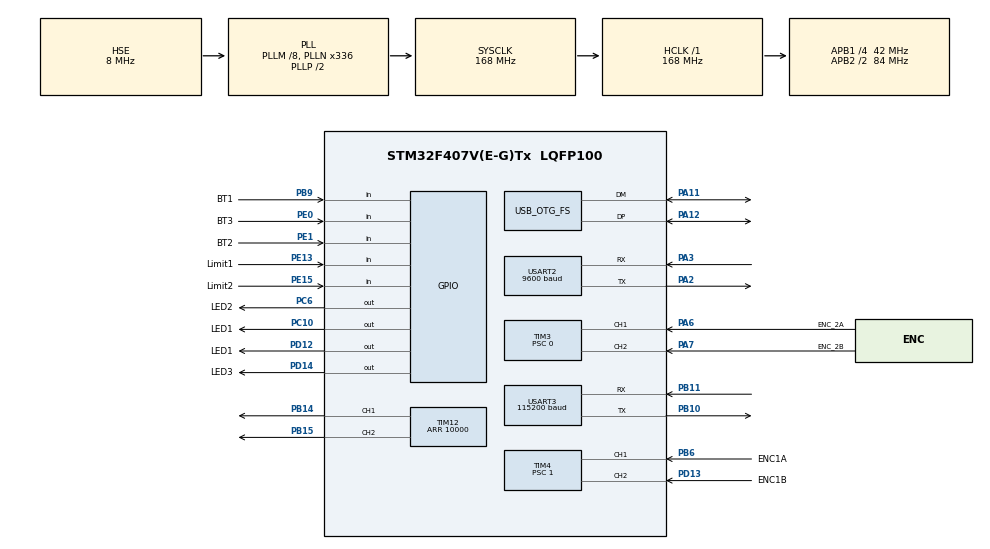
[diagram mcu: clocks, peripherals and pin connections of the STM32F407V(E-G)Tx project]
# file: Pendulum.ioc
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Mcu.Family=STM32F4
Mcu.Name=STM32F407V(E-G)Tx
Mcu.Package=LQFP100
NVIC.OTG_FS_IRQn=true\:0\:0\:false\:false\:true\:false\:true\:true
NVIC.PriorityGroup=NVIC_PRIORITYGROUP_4
PA11.Mode=Device_Only
PA11.Signal=USB_OTG_FS_DM
PA12.Mode=Device_Only
PA12.Signal=USB_OTG_FS_DP
PA2.Mode=Asynchronous
PA2.Signal=USART2_TX
PA3.Mode=Asynchronous
PA3.Signal=USART2_RX
PA6.GPIO_Label=ENC_2A
PA6.GPIO_PuPd=GPIO_PULLDOWN
PA6.GPIO_Speed=GPIO_SPEED_FREQ_VERY_HIGH
PA6.Signal=S_TIM3_CH1
PA7.GPIO_Label=ENC_2B
PA7.GPIO_PuPd=GPIO_PULLDOWN
PA7.GPIO_Speed=GPIO_SPEED_FREQ_VERY_HIGH
PA7.Signal=S_TIM3_CH2
PB10.Mode=Asynchronous
PB10.Signal=USART3_TX
PB11.Mode=Asynchronous
PB11.Signal=USART3_RX
PB14.Signal=S_TIM12_CH1
PB15.Signal=S_TIM12_CH2
PB6.GPIO_Label=ENC1A
PB6.Signal=S_TIM4_CH1
PB9.GPIO_Label=BT1
PB9.GPIO_PuPd=GPIO_PULLUP
PB9.Signal=GPIO_Input
PC10.GPIO_Label=LED1
PC10.Signal=GPIO_Output
PC6.GPIO_Label=LED2
PC6.Signal=GPIO_Output
PD12.GPIO_Label=LED1
PD12.Signal=GPIO_Output
PD13.GPIO_Label=ENC1B
PD13.Signal=S_TIM4_CH2
PD14.GPIO_Label=LED3
PD14.Signal=GPIO_Output
PE0.GPIO_Label=BT3
PE0.GPIO_PuPd=GPIO_PULLUP
PE0.Signal=GPIO_Input
PE1.GPIO_Label=BT2
PE1.GPIO_PuPd=GPIO_PULLUP
PE1.Signal=GPIO_Input
PE13.GPIO_Label=Limit1
PE13.Signal=GPIO_Input
PE15.GPIO_Label=Limit2
PE15.GPIO_PuPd=GPIO_NOPULL
PE15.Signal=GPIO_Input
PH0-OSC_IN.Mode=HSE-External-Oscillator
PH0-OSC_IN.Signal=RCC_OSC_IN
PH1-OSC_OUT.Mode=HSE-External-Oscillator
PH1-OSC_OUT.Signal=RCC_OSC_OUT
ProjectManager.HeapSize=0x200
ProjectManager.StackSize=0x400
ProjectManager.TargetToolchain=MDK-ARM V5.32
RCC.48MHZClocksFreq_Value=48000000
RCC.AHBFreq_Value=168000000
RCC.APB1CLKDivider=RCC_HCLK_DIV4
RCC.APB1Freq_Value=42000000
RCC.APB1TimFreq_Value=84000000
RCC.APB2CLKDivider=RCC_HCLK_DIV2
RCC.APB2Freq_Value=84000000
RCC.APB2TimFreq_Value=168000000
RCC.CortexFreq_Value=168000000
RCC.HCLKFreq_Value=168000000
RCC.HSE_VALUE=8000000
RCC.HSI_VALUE=16000000
RCC.LSE_VALUE=32768
RCC.PLLM=8
RCC.PLLN=336
RCC.PLLQ=7
RCC.SYSCLKFreq_VALUE=168000000
RCC.SYSCLKSource=RCC_SYSCLKSOURCE_PLLCLK
RCC.VCOOutputFreq_Value=336000000
SH.S_TIM12_CH1.0=TIM12_CH1,PWM Generation1 CH1
SH.S_TIM12_CH2.0=TIM12_CH2,PWM Generation2 CH2
SH.S_TIM3_CH1.0=TIM3_CH1,Encoder_Interface
SH.S_TIM3_CH2.0=TIM3_CH2,Encoder_Interface
SH.S_TIM4_CH1.0=TIM4_CH1,Encoder_Interface
SH.S_TIM4_CH2.0=TIM4_CH2,Encoder_Interface
TIM12.Channel-PWM\ Generation1\ CH1=TIM_CHANNEL_1
TIM12.Channel-PWM\ Generation2\ CH2=TIM_CHANNEL_2
TIM12.Period=10000
TIM12.Pulse-PWM\ Generation1\ CH1=65535
TIM12.Pulse-PWM\ Generation2\ CH2=65535
TIM3.CounterMode=TIM_COUNTERMODE_DOWN
TIM3.EncoderMode=TIM_ENCODERMODE_TI12
TIM3.IC1Filter=10
TIM3.IC1Polarity=TIM_ICPOLARITY_FALLING
TIM3.IC2Filter=10
TIM3.IC2Polarity=TIM_ICPOLARITY_FALLING
TIM3.Prescaler=0
TIM4.CounterMode=TIM_COUNTERMODE_DOWN
TIM4.EncoderMode=TIM_ENCODERMODE_TI12
TIM4.IC1Filter=10
TIM4.IC2Filter=10
TIM4.Prescaler=1
USART2.BaudRate=9600
USART2.VirtualMode=VM_ASYNC
USART3.BaudRate=115200
USART3.VirtualMode=VM_ASYNC
USB_DEVICE.CLASS_NAME_FS=CDC
USB_DEVICE.VirtualMode-CDC_FS=Cdc
USB_DEVICE.VirtualModeFS=Cdc_FS
USB_OTG_FS.VirtualMode=Device_Only
VP_USB_DEVICE_VS_USB_DEVICE_CDC_FS.Mode=CDC_FS
board=custom

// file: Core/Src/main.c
/* USER CODE BEGIN Header */
/**
  ******************************************************************************
  * @file           : main.c
  * @brief          : Main program body
  ******************************************************************************
  * @attention
  *
  * Copyright (c) 2025 STMicroelectronics.
  * All rights reserved.
  *
  * This software is licensed under terms that can be found in the LICENSE file
  * in the root directory of this software component.
  * If no LICENSE file comes with this software, it is provided AS-IS.
  *
  ******************************************************************************
  */
/* USER CODE END Header */
#include "main.h"
#include "usb_device.h"

/* USER CODE BEGIN Includes */
#include "Encoder_db.h"
#include "taskMan.h"
#include "StandardNextion.h"
#include "step_motor.h"
#include "COM_CDC.h"
uint16_t Enc_sampling, Enc_sampling2;
uint16_t Enc_Count, Enc_Count1, enkoder1, enkoder;
int Limit_kiri, Limit_kanan;
uint32_t lastSend = 0;

int angka = 0;
/* USER CODE END Includes */

TIM_HandleTypeDef htim3;
TIM_HandleTypeDef htim4;
TIM_HandleTypeDef htim12;

UART_HandleTypeDef huart2;
UART_HandleTypeDef huart3;

void SystemClock_Config(void);
static void MX_GPIO_Init(void);
static void MX_TIM12_Init(void);
static void MX_TIM3_Init(void);
static void MX_USART2_UART_Init(void);
static void MX_USART3_UART_Init(void);
static void MX_TIM4_Init(void);

/* USER CODE BEGIN 0 */
uint8_t usart3_rx;
uint8_t usart3_buf[100];
uint16_t usart3_len = 0;

char lmt[128];
char msg[65];
char kirim_angka[99];
char text[] = "HELLO\r\n";
int encoder_cnt = 0;
int last_cnt = 0;
int delta = 0;
float angleValue=0;
char printMessage[200]={'\0'};
extern uint8_t CDC_Transmit_FS(uint8_t* Buf, uint16_t Len);

uint8_t usart3_rx;
char kirim[64];

void Encoder_Init(){
	HAL_TIM_Encoder_Start(&htim3, TIM_CHANNEL_ALL); //Encoder
	HAL_TIM_Encoder_Start(&htim4, TIM_CHANNEL_ALL); //Encoder motor

    TIM3->CNT = 0;      // mulai dari 0
    TIM4->CNT = 0;

    Enc_Count = 0;
    Enc_Count1 = 0;
}

void Reset_Enc(){
    Enc_sampling = 0;
    Enc_Count = 0;
    Enc_Count1 = 0;

    Encoder_A = 0;
    Encoder_B = 0;

    last_encoder = 0;
    last_encoder1 = 0;

    TIM3->CNT = 0;
    TIM5->CNT = 0;

}

uint16_t get_encoder (){
    int16_t delta = (int16_t)(TIM3->CNT);  // konversi langsung jadi signed
    TIM3->CNT = 0;                         // reset lagi ke 0
    Enc_Count += delta;
    return Enc_Count;
}

uint16_t get_encoder1 (){
	int16_t delta1 = (int16_t)(TIM4->CNT);
	TIM5->CNT = 0;
	Enc_Count1 += delta1;
	return Enc_Count1;
}

void limit_sens(){
	char lmt[64];

	int Limit_kiri = (HAL_GPIO_ReadPin(Limit1_GPIO_Port, Limit1_Pin) == GPIO_PIN_RESET);
	int Limit_kanan = (HAL_GPIO_ReadPin(Limit2_GPIO_Port, Limit2_Pin) == GPIO_PIN_RESET);
	HAL_Delay(100);

	if(Limit_kiri){
		sprintf(lmt, "Limit1 - PE13: %d\r\n", Limit_kiri);
		CDC_Transmit_FS((uint8_t*)lmt, strlen(lmt));
	}
	else if (Limit_kanan){
		sprintf(lmt, "Limit2 - PE15: %d\r\n", Limit_kanan);
		CDC_Transmit_FS((uint8_t*)lmt, strlen(lmt));
	}
	else {
		sprintf(lmt, "NOTHING \n");
		CDC_Transmit_FS((uint8_t*)lmt, strlen(lmt));
	}
	HAL_Delay(10);
}

void HAL_UART_RxCpltCallback(UART_HandleTypeDef *huart) {
    if (huart->Instance == USART3) {
        // Simpan data ke buffer
        if (usart3_len < sizeof(usart3_buf) - 1) {
            usart3_buf[usart3_len++] = usart3_rx;
        }

        // Restart RX interrupt
        Nextion_UART_RxCallback();
        HAL_UART_Receive_IT(&huart3, &usart3_rx, 1);
    }
}

void Nextion_ProcessData_new(uint8_t *buf, uint8_t len) {
    if (len < 4) return;

    // Event tombol dari Nextion = 0x65, page, compID, event
    if (buf[0] == 0x65) {
        uint8_t comp_id = buf[2];
        uint8_t event   = buf[3];

        // Tombol b0 biasanya comp_id = 1
        if (comp_id == 1) {
            if (event == 1) {
               step_motor(6000);   // LED2 ON
            } else {
                stop(); // LED2 OFF
            }
        }

        // -----------------
        // Tombol b1
        // -----------------
        if (comp_id == 2) {
            if (event == 1) {
                step_motor(-6000);   // LED3 ON
            } else {
                stop(); // LED3 OFF
            }
        }
    }
}

void receive_from_nextion(){
    if (Nextion_Available()) {
        const char* msg = Nextion_GetString();
        char kirim[47];

        sprintf(kirim, "RX: %s\r\n", msg);
        CDC_Transmit_FS((uint8_t*)kirim, strlen(kirim));

        if (msg != NULL) {
            if (strcmp(msg, "01") == 0) {
                geserKanan();  // LED ON
                HAL_GPIO_WritePin(LED2_GPIO_Port, LED2_Pin, GPIO_PIN_SET);
                 sprintf(kirim, "CEKK \r\n");
                CDC_Transmit_FS((uint8_t*)kirim, strlen(kirim));
            }

            else if (strcmp(msg, "02") == 0){
            	geserKiri();
                sprintf(kirim, "DUAA \r\n");
                HAL_GPIO_WritePin(LED2_GPIO_Port, LED2_Pin, GPIO_PIN_SET);
               CDC_Transmit_FS((uint8_t*)kirim, strlen(kirim));
            }
            else {
            	stop();
               sprintf(kirim, "MATII \r\n");
               CDC_Transmit_FS((uint8_t*)kirim, strlen(kirim));
            }

        }

        Nextion_ClearBuffer(); // reset buffer setelah dipakai
        HAL_Delay(100);
    }

}

void Send_ENC(){
	char send[99];
	 sprintf(send, "KIRI -> Encoder_A: %d\r\n KANAN -> Encoder_B: %d\r\n", last_encoder, last_encoder1);
	 CDC_Transmit_FS((uint8_t*)send, strlen(send));
	 HAL_Delay(10);
}

void data_acak(int angka) {
    char alpha[4];      // 3 huruf alphabet
    // Buat alphabet acak
    for (int i = 0; i < 3; i++) {
        alpha[i] = 'A' + (rand() % 26);  // A-Z
    }
    alpha[3] = '\0';

    // Gabungkan alphabet + # + angka
    sprintf(kirim_angka, "%s#%d\r\n", alpha, angka);

    // Kirim ke USB CDC
    CDC_Transmit_FS((uint8_t*)kirim_angka, strlen(kirim_angka));
    HAL_Delay(100);
}

void send_to_Nextion(){
    char enc_text[50];
	sprintf(enc_text,"%d", last_encoder); //counter1
	Nextion_SendText("t1", enc_text);

	sprintf(enc_text,"%d", last_encoder1); //counter1
	Nextion_SendText("t0", enc_text);

	if (Nextion_Available()) {
				// Proses touch event atau data lain
				Nextion_ProcessData();
		}
	HAL_Delay(100);
}
int pinconA[4],pinconB[4];
/* USER CODE END 0 */

int main(void)
{

  /* MCU Configuration--------------------------------------------------------*/

  /* Reset of all peripherals, Initializes the Flash interface and the Systick. */
  HAL_Init();

  /* Configure the system clock */
  SystemClock_Config();

  /* Initialize all configured peripherals */
  MX_GPIO_Init();
  MX_USB_DEVICE_Init();
  MX_TIM12_Init();
  MX_TIM3_Init();
  MX_USART2_UART_Init();
  MX_USART3_UART_Init();
  MX_TIM4_Init();
  /* USER CODE BEGIN 2 */
  HAL_TIM_PWM_Start(&htim12, TIM_CHANNEL_1);
  HAL_TIM_PWM_Start(&htim12, TIM_CHANNEL_2);

  Encoder_Init();
  Nextion_Init();
	initTask();
  /* USER CODE END 2 */

  /* Infinite loop */
  /* USER CODE BEGIN WHILE */

  while (1)
  {
		loopTask();
		loopCOM();
		COM_PollAndParseJoystick();
		pinconA[0]= HAL_GPIO_ReadPin(ENC1A_GPIO_Port, ENC1A_Pin);
		pinconA[1]= HAL_GPIO_ReadPin(ENC1B_GPIO_Port, ENC1B_Pin);
		pinconB[0]= HAL_GPIO_ReadPin(ENC_2A_GPIO_Port, ENC_2A_Pin);
		pinconB[1]= HAL_GPIO_ReadPin(ENC_2B_GPIO_Port, ENC_2B_Pin);
		pinconB[2]= HAL_GPIO_ReadPin(Limit1_GPIO_Port, Limit1_Pin);
		pinconB[3]= HAL_GPIO_ReadPin(Limit2_GPIO_Port, Limit2_Pin);
		// sprintf(msg, "Encoder_A: %d -> Encoder_B: %d\r\n", last_encoder, last_encoder1);
		 //CDC_Transmit_FS((uint8_t*)msg, strlen(msg));

		/*
		 send_to_Nextion();
//		 counter();
		 receive_from_nextion();
		// limit_sens();
		 //Send_ENC();
		 //data_acak(ctrr++);  //TESS KIRIM USB CDC

		// receive_from_nextion();

		 if (Nextion_Available()) {
		     const char* msg = Nextion_GetString();

		     if (msg != NULL) {
		         char debug[50];
		         sprintf(debug, "RX:%s\r\n", msg);
		         CDC_Transmit_FS((uint8_t*)debug, strlen(debug));
		     }

		     Nextion_ClearBuffer();
		 }

	    Nextion_ClearBuffer();

	  if (HAL_GPIO_ReadPin(BT2_GPIO_Port, BT2_Pin) == GPIO_PIN_RESET){
//				 sprintf(msg, "KIRI -> Encoder_A: %d\r\n Encoder_B: %d\r\n", last_encoder, last_encoder1);
//				 CDC_Transmit_FS((uint8_t*)msg, strlen(msg));

			 if ( HAL_GPIO_ReadPin(Limit2_GPIO_Port, Limit2_Pin) == GPIO_PIN_RESET){

//				 sprintf(lmt, "KIRI -> Encoder_A: %d\r\n Encoder_B: %d\r\n", last_encoder, last_encoder1);
//			 	 CDC_Transmit_FS((uint8_t*)lmt, strlen(lmt));
				 stop();
			 }
			 else {
				 step_motor(48000);
				 HAL_GPIO_WritePin(LED2_GPIO_Port, LED2_Pin, GPIO_PIN_SET);
				// HAL_UART_Transmit(&huart3, last_encoder, 100, 100);
			 }

	  }
	  else if (HAL_GPIO_ReadPin(BT3_GPIO_Port, BT3_Pin) == GPIO_PIN_RESET){
//			 sprintf(msg, "KIRI -> Encoder_A: %d\r\n Encoder_B: %d\r\n", last_encoder, last_encoder1);
//			 CDC_Transmit_FS((uint8_t*)msg, strlen(msg));

			 if (HAL_GPIO_ReadPin(Limit1_GPIO_Port, Limit1_Pin) == GPIO_PIN_RESET){
//				 sprintf(lmt, "KIRI -> Encoder_A: %d\r\n Encoder_B: %d\r\n", last_encoder, last_encoder1);
//				 CDC_Transmit_FS((uint8_t*)lmt, strlen(lmt));
				 stop();
			 }
			 else {
				 step_motor(-48000);
				 HAL_GPIO_WritePin(LED3_GPIO_Port, LED3_Pin, GPIO_PIN_SET);
			//	 HAL_UART_Transmit(&huart3, last_encoder, 100, 100);

			 }
	  }
	  else {
		 stop();
		 HAL_GPIO_WritePin(LED1_GPIO_Port, LED1_Pin, GPIO_PIN_RESET);
		 HAL_GPIO_WritePin(LED2_GPIO_Port, LED2_Pin, GPIO_PIN_RESET);
		 HAL_GPIO_WritePin(LED3_GPIO_Port, LED3_Pin, GPIO_PIN_RESET);

	  }

	  if(HAL_GPIO_ReadPin(BT1_GPIO_Port, BT1_Pin) == GPIO_PIN_RESET){
		  Reset_Enc();
		  HAL_GPIO_WritePin(LED1_GPIO_Port, LED1_Pin, GPIO_PIN_SET);
	  }

    /* USER CODE END WHILE */

  }
}

void SystemClock_Config(void)
{
  RCC_OscInitTypeDef RCC_OscInitStruct = {0};
  RCC_ClkInitTypeDef RCC_ClkInitStruct = {0};

  /** Configure the main internal regulator output voltage
  */
  __HAL_RCC_PWR_CLK_ENABLE();
  __HAL_PWR_VOLTAGESCALING_CONFIG(PWR_REGULATOR_VOLTAGE_SCALE1);

  /** Initializes the RCC Oscillators according to the specified parameters
  * in the RCC_OscInitTypeDef structure.
  */
  RCC_OscInitStruct.OscillatorType = RCC_OSCILLATORTYPE_HSE;
  RCC_OscInitStruct.HSEState = RCC_HSE_ON;
  RCC_OscInitStruct.PLL.PLLState = RCC_PLL_ON;
  RCC_OscInitStruct.PLL.PLLSource = RCC_PLLSOURCE_HSE;
  RCC_OscInitStruct.PLL.PLLM = 8;
  RCC_OscInitStruct.PLL.PLLN = 336;
  RCC_OscInitStruct.PLL.PLLP = RCC_PLLP_DIV2;
  RCC_OscInitStruct.PLL.PLLQ = 7;
  if (HAL_RCC_OscConfig(&RCC_OscInitStruct) != HAL_OK)
  {
    Error_Handler();
  }

  /** Initializes the CPU, AHB and APB buses clocks
  */
  RCC_ClkInitStruct.ClockType = RCC_CLOCKTYPE_HCLK|RCC_CLOCKTYPE_SYSCLK
                              |RCC_CLOCKTYPE_PCLK1|RCC_CLOCKTYPE_PCLK2;
  RCC_ClkInitStruct.SYSCLKSource = RCC_SYSCLKSOURCE_PLLCLK;
  RCC_ClkInitStruct.AHBCLKDivider = RCC_SYSCLK_DIV1;
  RCC_ClkInitStruct.APB1CLKDivider = RCC_HCLK_DIV4;
  RCC_ClkInitStruct.APB2CLKDivider = RCC_HCLK_DIV2;

  if (HAL_RCC_ClockConfig(&RCC_ClkInitStruct, FLASH_LATENCY_5) != HAL_OK)
  {
    Error_Handler();
  }
}

static void MX_TIM3_Init(void)
{

  TIM_Encoder_InitTypeDef sConfig = {0};
  TIM_MasterConfigTypeDef sMasterConfig = {0};

  htim3.Instance = TIM3;
  htim3.Init.Prescaler = 0;
  htim3.Init.CounterMode = TIM_COUNTERMODE_DOWN;
  htim3.Init.Period = 65535;
  htim3.Init.ClockDivision = TIM_CLOCKDIVISION_DIV1;
  htim3.Init.AutoReloadPreload = TIM_AUTORELOAD_PRELOAD_DISABLE;
  sConfig.EncoderMode = TIM_ENCODERMODE_TI12;
  sConfig.IC1Polarity = TIM_ICPOLARITY_FALLING;
  sConfig.IC1Selection = TIM_ICSELECTION_DIRECTTI;
  sConfig.IC1Prescaler = TIM_ICPSC_DIV1;
  sConfig.IC1Filter = 10;
  sConfig.IC2Polarity = TIM_ICPOLARITY_FALLING;
  sConfig.IC2Selection = TIM_ICSELECTION_DIRECTTI;
  sConfig.IC2Prescaler = TIM_ICPSC_DIV1;
  sConfig.IC2Filter = 10;
  if (HAL_TIM_Encoder_Init(&htim3, &sConfig) != HAL_OK)
  {
    Error_Handler();
  }
  sMasterConfig.MasterOutputTrigger = TIM_TRGO_RESET;
  sMasterConfig.MasterSlaveMode = TIM_MASTERSLAVEMODE_DISABLE;
  if (HAL_TIMEx_MasterConfigSynchronization(&htim3, &sMasterConfig) != HAL_OK)
  {
    Error_Handler();
  }

}

static void MX_TIM4_Init(void)
{

  TIM_Encoder_InitTypeDef sConfig = {0};
  TIM_MasterConfigTypeDef sMasterConfig = {0};

  htim4.Instance = TIM4;
  htim4.Init.Prescaler = 1;
  htim4.Init.CounterMode = TIM_COUNTERMODE_DOWN;
  htim4.Init.Period = 65535;
  htim4.Init.ClockDivision = TIM_CLOCKDIVISION_DIV1;
  htim4.Init.AutoReloadPreload = TIM_AUTORELOAD_PRELOAD_DISABLE;
  sConfig.EncoderMode = TIM_ENCODERMODE_TI12;
  sConfig.IC1Polarity = TIM_ICPOLARITY_RISING;
  sConfig.IC1Selection = TIM_ICSELECTION_DIRECTTI;
  sConfig.IC1Prescaler = TIM_ICPSC_DIV1;
  sConfig.IC1Filter = 10;
  sConfig.IC2Polarity = TIM_ICPOLARITY_RISING;
  sConfig.IC2Selection = TIM_ICSELECTION_DIRECTTI;
  sConfig.IC2Prescaler = TIM_ICPSC_DIV1;
  sConfig.IC2Filter = 10;
  if (HAL_TIM_Encoder_Init(&htim4, &sConfig) != HAL_OK)
  {
    Error_Handler();
  }
  sMasterConfig.MasterOutputTrigger = TIM_TRGO_RESET;
  sMasterConfig.MasterSlaveMode = TIM_MASTERSLAVEMODE_DISABLE;
  if (HAL_TIMEx_MasterConfigSynchronization(&htim4, &sMasterConfig) != HAL_OK)
  {
    Error_Handler();
  }

}

static void MX_TIM12_Init(void)
{

  TIM_OC_InitTypeDef sConfigOC = {0};

  htim12.Instance = TIM12;
  htim12.Init.Prescaler = 0;
  htim12.Init.CounterMode = TIM_COUNTERMODE_UP;
  htim12.Init.Period = 10000;
  htim12.Init.ClockDivision = TIM_CLOCKDIVISION_DIV1;
  htim12.Init.AutoReloadPreload = TIM_AUTORELOAD_PRELOAD_DISABLE;
  if (HAL_TIM_PWM_Init(&htim12) != HAL_OK)
  {
    Error_Handler();
  }
  sConfigOC.OCMode = TIM_OCMODE_PWM1;
  sConfigOC.Pulse = 65535;
  sConfigOC.OCPolarity = TIM_OCPOLARITY_HIGH;
  sConfigOC.OCFastMode = TIM_OCFAST_DISABLE;
  if (HAL_TIM_PWM_ConfigChannel(&htim12, &sConfigOC, TIM_CHANNEL_1) != HAL_OK)
  {
    Error_Handler();
  }
  if (HAL_TIM_PWM_ConfigChannel(&htim12, &sConfigOC, TIM_CHANNEL_2) != HAL_OK)
  {
    Error_Handler();
  }
  HAL_TIM_MspPostInit(&htim12);

}

static void MX_USART2_UART_Init(void)
{

  huart2.Instance = USART2;
  huart2.Init.BaudRate = 9600;
  huart2.Init.WordLength = UART_WORDLENGTH_8B;
  huart2.Init.StopBits = UART_STOPBITS_1;
  huart2.Init.Parity = UART_PARITY_NONE;
  huart2.Init.Mode = UART_MODE_TX_RX;
  huart2.Init.HwFlowCtl = UART_HWCONTROL_NONE;
  huart2.Init.OverSampling = UART_OVERSAMPLING_16;
  if (HAL_UART_Init(&huart2) != HAL_OK)
  {
    Error_Handler();
  }

}

static void MX_USART3_UART_Init(void)
{

  huart3.Instance = USART3;
  huart3.Init.BaudRate = 115200;
  huart3.Init.WordLength = UART_WORDLENGTH_8B;
  huart3.Init.StopBits = UART_STOPBITS_1;
  huart3.Init.Parity = UART_PARITY_NONE;
  huart3.Init.Mode = UART_MODE_TX_RX;
  huart3.Init.HwFlowCtl = UART_HWCONTROL_NONE;
  huart3.Init.OverSampling = UART_OVERSAMPLING_16;
  if (HAL_UART_Init(&huart3) != HAL_OK)
  {
    Error_Handler();
  }

}

static void MX_GPIO_Init(void)
{
  GPIO_InitTypeDef GPIO_InitStruct = {0};

  /* GPIO Ports Clock Enable */
  __HAL_RCC_GPIOH_CLK_ENABLE();
  __HAL_RCC_GPIOA_CLK_ENABLE();
  __HAL_RCC_GPIOE_CLK_ENABLE();
  __HAL_RCC_GPIOB_CLK_ENABLE();
  __HAL_RCC_GPIOD_CLK_ENABLE();
  __HAL_RCC_GPIOC_CLK_ENABLE();

  /*Configure GPIO pin Output Level */
  HAL_GPIO_WritePin(GPIOD, LED1_Pin|LED3_Pin, GPIO_PIN_RESET);

  /*Configure GPIO pin Output Level */
  HAL_GPIO_WritePin(GPIOC, LED2_Pin|LED1C10_Pin, GPIO_PIN_RESET);

  /*Configure GPIO pins : Limit1_Pin Limit2_Pin */
  GPIO_InitStruct.Pin = Limit1_Pin|Limit2_Pin;
  GPIO_InitStruct.Mode = GPIO_MODE_INPUT;
  GPIO_InitStruct.Pull = GPIO_NOPULL;
  HAL_GPIO_Init(GPIOE, &GPIO_InitStruct);

  /*Configure GPIO pins : LED1_Pin LED3_Pin */
  GPIO_InitStruct.Pin = LED1_Pin|LED3_Pin;
  GPIO_InitStruct.Mode = GPIO_MODE_OUTPUT_PP;
  GPIO_InitStruct.Pull = GPIO_NOPULL;
  GPIO_InitStruct.Speed = GPIO_SPEED_FREQ_LOW;
  HAL_GPIO_Init(GPIOD, &GPIO_InitStruct);

  /*Configure GPIO pins : LED2_Pin LED1C10_Pin */
  GPIO_InitStruct.Pin = LED2_Pin|LED1C10_Pin;
  GPIO_InitStruct.Mode = GPIO_MODE_OUTPUT_PP;
  GPIO_InitStruct.Pull = GPIO_NOPULL;
  GPIO_InitStruct.Speed = GPIO_SPEED_FREQ_LOW;
  HAL_GPIO_Init(GPIOC, &GPIO_InitStruct);

  /*Configure GPIO pin : BT1_Pin */
  GPIO_InitStruct.Pin = BT1_Pin;
  GPIO_InitStruct.Mode = GPIO_MODE_INPUT;
  GPIO_InitStruct.Pull = GPIO_PULLUP;
  HAL_GPIO_Init(BT1_GPIO_Port, &GPIO_InitStruct);

  /*Configure GPIO pins : BT3_Pin BT2_Pin */
  GPIO_InitStruct.Pin = BT3_Pin|BT2_Pin;
  GPIO_InitStruct.Mode = GPIO_MODE_INPUT;
  GPIO_InitStruct.Pull = GPIO_PULLUP;
  HAL_GPIO_Init(GPIOE, &GPIO_InitStruct);

}

void Error_Handler(void)
{
  __disable_irq();
  while (1)
  {
  }
}
